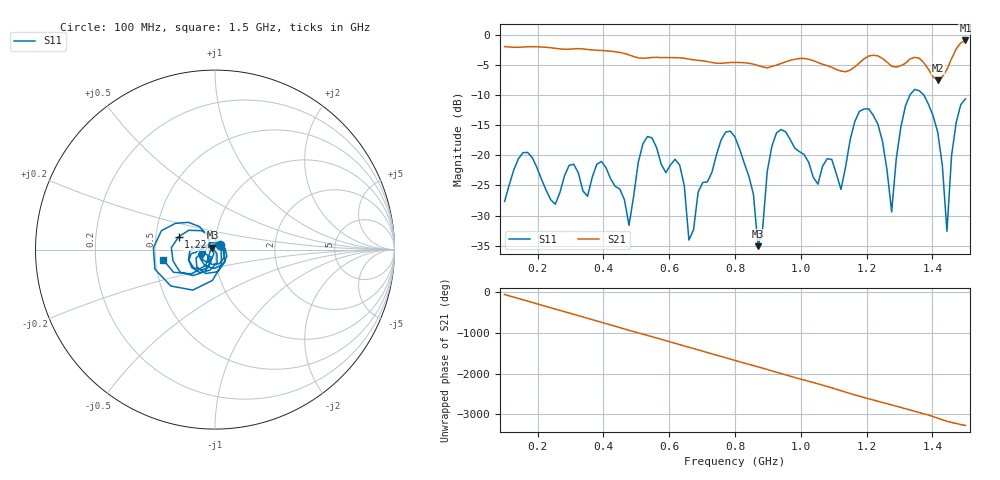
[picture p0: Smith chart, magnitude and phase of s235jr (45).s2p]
! NanoVNA-App
! Date: 2025-09-26 09:45:08
! Start: 100MHz Stop: 1,5GHz Points: 101
! S-Parameter data: F S11 S21 S12 S22
# Hz S RI R 50
!  Frequency  S11_Real  S11_Imag  S21_Real  S21_Imag  S12_Real  S12_Imag  S22_Real  S22_Imag
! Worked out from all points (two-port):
!   101 points, 100 MHz to 1.5 GHz, reference 50 ohm
!   highest |S21| = -0.94 dB at 1.5 GHz (marker M1); lowest = -7.6 dB at 1.416 GHz (marker M2)
!   |S21| within 3 dB of the highest: start of sweep to 650.8 MHz; 1.194 GHz to 1.248 GHz (54.55 MHz wide, 4.47 % of centre)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
!   lowest |S11| = -35.1 dB at 870 MHz (marker M3), VSWR 1.04, Z = 48.6 + j0.98 ohm
!   |S11| at or under -10 dB: start of sweep to 1.331 GHz; 1.374 GHz to end of sweep
!   S12 and S22 are empty: the file has one direction only
!   S11 on the Smith chart (normalised r, x): 100 MHz: 1.06, +0.06; 1.22 GHz: 0.66, +0.10; 1.5 GHz: 0.55, -0.07
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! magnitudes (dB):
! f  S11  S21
! 100 MHz  -27.6  -2.0
! 156 MHz  -19.6  -2.0
! 338 MHz  -25.9  -2.4
! 394 MHz  -21.0  -2.6
! 478 MHz  -31.6  -3.3
! 520 MHz  -18.1  -3.9
! 576 MHz  -21.5  -3.8
! 632 MHz  -21.6  -3.8
! 660 MHz  -34.0  -4.0
! 800 MHz  -17.0  -4.6
! 870 MHz  -35.1  -5.1
! 926 MHz  -16.3  -5.0
! 1.038 GHz  -23.7  -4.3
! 1.122 GHz  -25.7  -6.0
! 1.164 GHz  -14.4  -5.3
! 1.22 GHz  -13.4  -3.4
! 1.276 GHz  -29.4  -5.2
! 1.332 GHz  -9.9  -4.0
! 1.416 GHz  -16.2  -7.6
! 1.444 GHz  -32.6  -5.8
! 1.458 GHz  -20.1  -4.0
! 1.5 GHz  -10.6  -0.9
